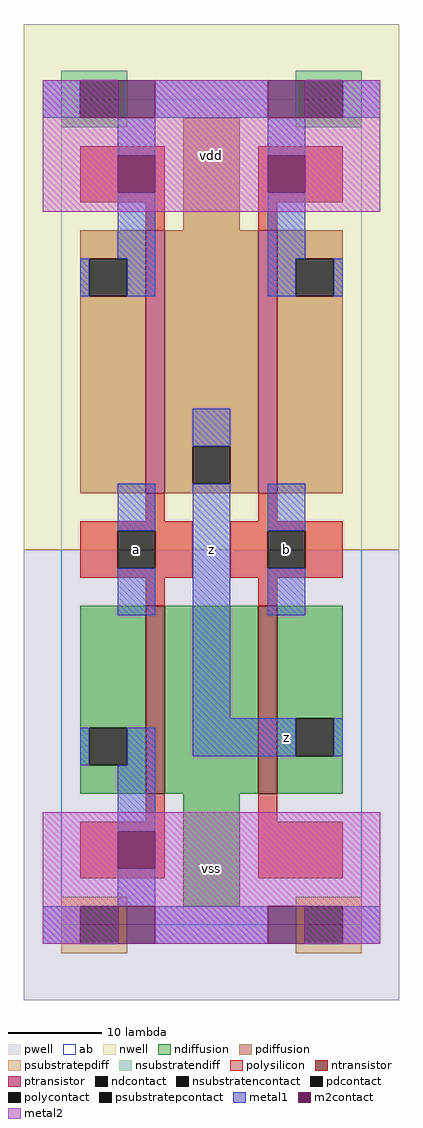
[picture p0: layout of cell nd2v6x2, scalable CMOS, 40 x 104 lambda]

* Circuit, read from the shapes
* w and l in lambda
.subckt nd2v6x2 a b vdd vss z
M1 n1 a vss vss nfet w=20 l=2
M2 z b n1 vss nfet w=20 l=2
M3 z a vdd vdd pfet w=28 l=2
M4 vdd b z vdd pfet w=28 l=2
.ends

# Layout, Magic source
magic
tech scmos
<< ab >>
rect 0 0 32 88
<< pwell >>
rect -4 -8 36 40
<< nwell >>
rect -4 40 36 96
<< polysilicon >>
rect 2 77 11 83
rect 9 74 11 77
rect 21 77 30 83
rect 21 74 23 77
rect 9 43 11 46
rect 21 43 23 46
rect 2 42 14 43
rect 2 38 6 42
rect 10 38 14 42
rect 2 37 14 38
rect 18 42 30 43
rect 18 38 22 42
rect 26 38 30 42
rect 18 37 30 38
rect 9 34 11 37
rect 21 34 23 37
rect 9 11 11 14
rect 2 5 11 11
rect 21 11 23 14
rect 21 5 30 11
<< ndiffusion >>
rect 2 21 9 34
rect 2 17 3 21
rect 7 17 9 21
rect 2 14 9 17
rect 11 14 21 34
rect 23 22 30 34
rect 23 18 25 22
rect 29 18 30 22
rect 23 14 30 18
rect 13 2 19 14
<< pdiffusion >>
rect 13 74 19 86
rect 2 71 9 74
rect 2 67 3 71
rect 7 67 9 71
rect 2 46 9 67
rect 11 51 21 74
rect 11 47 14 51
rect 18 47 21 51
rect 11 46 21 47
rect 23 71 30 74
rect 23 67 25 71
rect 29 67 30 71
rect 23 46 30 67
<< metal1 >>
rect -2 86 2 90
rect 10 86 22 90
rect 30 86 34 90
rect 6 82 10 86
rect 6 71 10 78
rect 2 67 3 71
rect 7 67 10 71
rect 22 82 26 86
rect 22 71 26 78
rect 22 67 25 71
rect 29 67 30 71
rect 14 51 18 55
rect 6 42 10 47
rect 6 33 10 38
rect 14 22 18 47
rect 22 42 26 47
rect 22 33 26 38
rect 2 17 3 21
rect 7 17 10 21
rect 14 18 25 22
rect 29 18 30 22
rect 6 10 10 17
rect 6 2 10 6
rect -2 -2 2 2
rect 10 -2 22 2
rect 30 -2 34 2
<< metal2 >>
rect -2 86 6 90
rect 10 86 22 90
rect 26 86 34 90
rect -2 82 34 86
rect -2 78 6 82
rect 10 78 22 82
rect 26 78 34 82
rect -2 76 34 78
rect -2 10 34 12
rect -2 6 6 10
rect 10 6 34 10
rect -2 2 34 6
rect -2 -2 6 2
rect 10 -2 22 2
rect 26 -2 34 2
<< ntransistor >>
rect 9 14 11 34
rect 21 14 23 34
<< ptransistor >>
rect 9 46 11 74
rect 21 46 23 74
<< polycontact >>
rect 6 38 10 42
rect 22 38 26 42
<< ndcontact >>
rect 3 17 7 21
rect 25 18 29 22
<< pdcontact >>
rect 3 67 7 71
rect 14 47 18 51
rect 25 67 29 71
<< m2contact >>
rect 6 86 10 90
rect 22 86 26 90
rect 6 78 10 82
rect 22 78 26 82
rect 6 6 10 10
rect 6 -2 10 2
rect 22 -2 26 2
<< psubstratepcontact >>
rect 2 -2 6 2
rect 26 -2 30 2
<< nsubstratencontact >>
rect 2 86 6 90
rect 26 86 30 90
<< psubstratepdiff >>
rect 0 2 7 3
rect 25 2 32 3
rect 0 -2 2 2
rect 6 -2 7 2
rect 0 -3 7 -2
rect 25 -2 26 2
rect 30 -2 32 2
rect 25 -3 32 -2
<< nsubstratendiff >>
rect 0 90 7 91
rect 0 86 2 90
rect 6 86 7 90
rect 25 90 32 91
rect 25 86 26 90
rect 30 86 32 90
rect 0 85 7 86
rect 25 85 32 86
<< labels >>
rlabel polycontact 8 40 8 40 6 a
rlabel metal1 16 40 16 40 6 z
rlabel metal1 24 20 24 20 6 z
rlabel polycontact 24 40 24 40 6 b
rlabel metal2 16 6 16 6 6 vss
rlabel metal2 16 82 16 82 6 vdd
<< end >>
